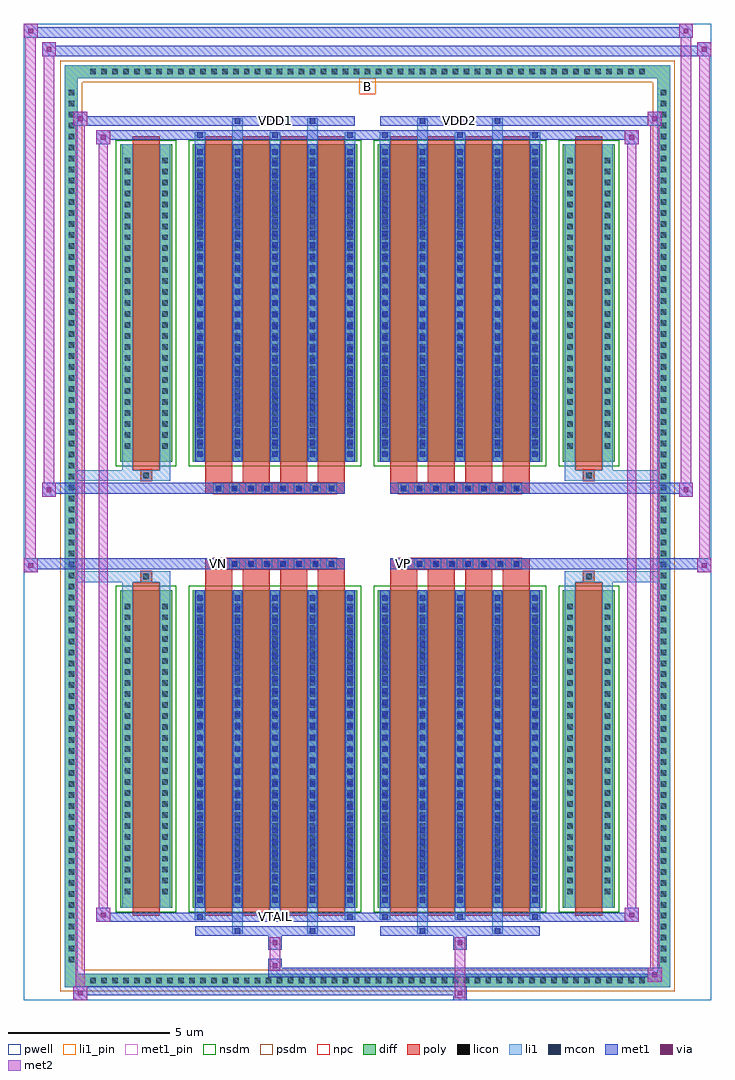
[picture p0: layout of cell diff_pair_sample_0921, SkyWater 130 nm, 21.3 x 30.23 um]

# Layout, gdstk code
import gdstk
lib = gdstk.Library(unit=1e-6, precision=5e-09)
def R(c, l, rs):  # rectangles x0, y0, x1, y1
    for r in rs: c.add(gdstk.rectangle(r[:2], r[2:], *l))
def A(c, l, x, y, w, h, nx, ny, dx, dy):  # array of equal rectangles
    R(c, l, [(x+i*dx, y+j*dy, x+i*dx+w, y+j*dy+h) for i in range(nx) for j in range(ny)])
def P(c, l, *ps):  # polygons
    for p in ps: c.add(gdstk.Polygon(p, *l))
pwell = (64, 44)
diff = (65, 20)
poly = (66, 20)
licon = (66, 44)
li1_pin = (67, 16)
li1 = (67, 20)
mcon = (67, 44)
met1_pin = (68, 16)
met1 = (68, 20)
via = (68, 44)
met2 = (69, 20)
nsdm = (93, 44)
psdm = (94, 20)
npc = (95, 20)

diff_pair_sample_0921 = lib.new_cell('diff_pair_sample_0921')
R(diff_pair_sample_0921, pwell, [(-10.65,-14.68,10.65,15.55), (-7.97,-12.87,-0.01,-0.805), (0.01,-12.87,7.97,-0.805), (-7.97,0.805,-0.01,12.87), (0.01,0.805,7.97,12.87)])
A(diff_pair_sample_0921, diff, -8.705, -14.28, 0.41, 0.41, 51, 2, 0.34, 28.15)
A(diff_pair_sample_0921, diff, -9.38, -13.635, 0.41, 0.41, 1, 80, 0, 0.34)
A(diff_pair_sample_0921, diff, 8.97, -13.635, 0.41, 0.41, 1, 80, 0, 0.34)
R(diff_pair_sample_0921, diff, [(-8.705,-14.28,8.705,-13.87), (-9.38,-13.635,-8.97,13.635), (8.97,-13.635,9.38,13.635), (-7.66,-11.825,-6.05,-1.985), (-5.41,-11.825,-0.32,-1.985), (0.32,-11.825,5.41,-1.985), (6.05,-11.825,7.66,-1.985), (-7.66,1.985,-6.05,11.825), (-5.41,1.985,-0.32,11.825), (0.32,1.985,5.41,11.825), (6.05,1.985,7.66,11.825), (-8.705,13.87,8.705,14.28)])
P(diff_pair_sample_0921, diff, [(9.38,14.28),(-9.38,14.28),(-9.38,-13.87),(-8.97,-13.87),(-8.97,13.87),(8.97,13.87),(8.97,-13.87),(-8.97,-13.87),(-9.38,-13.87),(-9.38,-14.28),(9.38,-14.28)])
A(diff_pair_sample_0921, poly, -5.02, -12.075, 0.83, 10.34, 4, 2, 1.16, 13.81)
A(diff_pair_sample_0921, poly, 0.71, -12.075, 0.83, 10.34, 4, 2, 1.16, 13.81)
A(diff_pair_sample_0921, poly, -5.02, -1.735, 0.83, 0.4, 4, 2, 1.16, 3.07)
A(diff_pair_sample_0921, poly, 0.71, -1.735, 0.83, 0.4, 4, 2, 1.16, 3.07)
A(diff_pair_sample_0921, poly, -4.78, -1.335, 0.33, 0.33, 8, 2, 0.5, 2.34)
A(diff_pair_sample_0921, poly, 0.95, -1.335, 0.33, 0.33, 8, 2, 0.5, 2.34)
R(diff_pair_sample_0921, poly, [(-7.27,-12.075,-6.44,-1.735), (6.44,-12.075,7.27,-1.735), (-7.02,-1.735,-6.69,-1.405), (-7.02,-1.735,-6.69,-1.405), (6.69,-1.735,7.02,-1.405), (6.69,-1.735,7.02,-1.405), (-5.02,-1.335,-0.71,-1.005), (0.71,-1.335,5.02,-1.005), (-5.02,1.005,-0.71,1.335), (0.71,1.005,5.02,1.335), (-7.02,1.405,-6.69,1.735), (-7.02,1.405,-6.69,1.735), (6.69,1.405,7.02,1.735), (6.69,1.405,7.02,1.735), (-7.27,1.735,-6.44,12.075), (6.44,1.735,7.27,12.075)])
A(diff_pair_sample_0921, licon, -8.585, -14.16, 0.17, 0.17, 51, 2, 0.34, 28.15)
A(diff_pair_sample_0921, licon, -9.26, -13.515, 0.17, 0.17, 1, 80, 0, 0.34)
A(diff_pair_sample_0921, licon, 9.09, -13.515, 0.17, 0.17, 1, 80, 0, 0.34)
A(diff_pair_sample_0921, licon, -7.52, -11.41, 0.17, 0.17, 1, 27, 0, 0.34)
A(diff_pair_sample_0921, licon, -6.36, -11.41, 0.17, 0.17, 1, 27, 0, 0.34)
A(diff_pair_sample_0921, licon, -5.27, -11.41, 0.17, 0.17, 5, 27, 1.16, 0.34)
A(diff_pair_sample_0921, licon, 0.46, -11.41, 0.17, 0.17, 5, 27, 1.16, 0.34)
A(diff_pair_sample_0921, licon, 6.19, -11.41, 0.17, 0.17, 1, 27, 0, 0.34)
A(diff_pair_sample_0921, licon, 7.35, -11.41, 0.17, 0.17, 1, 27, 0, 0.34)
A(diff_pair_sample_0921, licon, -4.7, -1.255, 0.17, 0.17, 8, 2, 0.5, 2.34)
A(diff_pair_sample_0921, licon, 1.03, -1.255, 0.17, 0.17, 8, 2, 0.5, 2.34)
A(diff_pair_sample_0921, licon, -7.52, 2.4, 0.17, 0.17, 1, 27, 0, 0.34)
A(diff_pair_sample_0921, licon, -6.36, 2.4, 0.17, 0.17, 1, 27, 0, 0.34)
A(diff_pair_sample_0921, licon, -5.27, 2.4, 0.17, 0.17, 5, 27, 1.16, 0.34)
A(diff_pair_sample_0921, licon, 0.46, 2.4, 0.17, 0.17, 5, 27, 1.16, 0.34)
A(diff_pair_sample_0921, licon, 6.19, 2.4, 0.17, 0.17, 1, 27, 0, 0.34)
A(diff_pair_sample_0921, licon, 7.35, 2.4, 0.17, 0.17, 1, 27, 0, 0.34)
R(diff_pair_sample_0921, licon, [(-6.94,-1.655,-6.77,-1.485), (6.77,-1.655,6.94,-1.485), (-6.94,1.485,-6.77,1.655), (6.77,1.485,6.94,1.655)])
R(diff_pair_sample_0921, li1_pin, [(-0.25,13.37,0.25,13.87)])
A(diff_pair_sample_0921, li1, -8.665, -14.24, 0.33, 0.33, 51, 2, 0.34, 28.15)
A(diff_pair_sample_0921, li1, -9.34, -13.595, 0.33, 0.33, 1, 80, 0, 0.34)
A(diff_pair_sample_0921, li1, 9.01, -13.595, 0.33, 0.33, 1, 80, 0, 0.34)
A(diff_pair_sample_0921, li1, -5.35, -12.2, 0.33, 0.375, 3, 2, 2.32, 24.025)
A(diff_pair_sample_0921, li1, -5.27, -12.2, 0.17, 0.17, 3, 2, 2.32, 24.23)
A(diff_pair_sample_0921, li1, 0.38, -12.2, 0.33, 0.375, 3, 2, 2.32, 24.025)
A(diff_pair_sample_0921, li1, 0.46, -12.2, 0.17, 0.17, 3, 2, 2.32, 24.23)
A(diff_pair_sample_0921, li1, -5.35, -11.825, 0.33, 9.84, 5, 2, 1.16, 13.81)
A(diff_pair_sample_0921, li1, 0.38, -11.825, 0.33, 9.84, 5, 2, 1.16, 13.81)
A(diff_pair_sample_0921, li1, -5.27, -11.67, 0.17, 0.17, 5, 27, 1.16, 0.36)
A(diff_pair_sample_0921, li1, -5.27, -11.67, 0.17, 9.53, 5, 2, 1.16, 13.81)
A(diff_pair_sample_0921, li1, 0.46, -11.67, 0.17, 0.17, 5, 27, 1.16, 0.36)
A(diff_pair_sample_0921, li1, 0.46, -11.67, 0.17, 9.53, 5, 2, 1.16, 13.81)
A(diff_pair_sample_0921, li1, -7.6, -11.49, 0.33, 0.33, 1, 27, 0, 0.34)
A(diff_pair_sample_0921, li1, -6.44, -11.49, 0.33, 0.33, 1, 27, 0, 0.34)
A(diff_pair_sample_0921, li1, -5.35, -11.49, 0.33, 0.33, 5, 27, 1.16, 0.34)
A(diff_pair_sample_0921, li1, 0.38, -11.49, 0.33, 0.33, 5, 27, 1.16, 0.34)
A(diff_pair_sample_0921, li1, 6.11, -11.49, 0.33, 0.33, 1, 27, 0, 0.34)
A(diff_pair_sample_0921, li1, 7.27, -11.49, 0.33, 0.33, 1, 27, 0, 0.34)
A(diff_pair_sample_0921, li1, -4.78, -1.335, 0.33, 0.33, 8, 2, 0.5, 2.34)
A(diff_pair_sample_0921, li1, 0.95, -1.335, 0.33, 0.33, 8, 2, 0.5, 2.34)
A(diff_pair_sample_0921, li1, -5.27, 2.14, 0.17, 0.17, 5, 27, 1.16, 0.36)
A(diff_pair_sample_0921, li1, 0.46, 2.14, 0.17, 0.17, 5, 27, 1.16, 0.36)
A(diff_pair_sample_0921, li1, -7.6, 2.32, 0.33, 0.33, 1, 27, 0, 0.34)
A(diff_pair_sample_0921, li1, -6.44, 2.32, 0.33, 0.33, 1, 27, 0, 0.34)
A(diff_pair_sample_0921, li1, -5.35, 2.32, 0.33, 0.33, 5, 27, 1.16, 0.34)
A(diff_pair_sample_0921, li1, 0.38, 2.32, 0.33, 0.33, 5, 27, 1.16, 0.34)
A(diff_pair_sample_0921, li1, 6.11, 2.32, 0.33, 0.33, 1, 27, 0, 0.34)
A(diff_pair_sample_0921, li1, 7.27, 2.32, 0.33, 0.33, 1, 27, 0, 0.34)
R(diff_pair_sample_0921, li1, [(-9.38,-14.28,-8.97,-13.87), (-9.38,-14.28,-8.97,-13.87), (-8.97,-14.28,8.97,-13.87), (8.97,-14.28,9.38,-13.87), (8.97,-14.28,9.38,-13.87), (-9.38,-13.87,-8.97,13.87), (8.97,-13.87,9.38,13.87), (-4.19,-12.63,-3.86,-11.825), (-4.11,-12.63,-3.94,-12.46), (-1.87,-12.63,-1.54,-11.825), (-1.79,-12.63,-1.62,-12.46), (1.54,-12.63,1.87,-11.825), (1.62,-12.63,1.79,-12.46), (3.86,-12.63,4.19,-11.825), (3.94,-12.63,4.11,-12.46), (-7.6,-11.825,-7.27,-1.985), (-6.44,-11.825,-6.11,-1.985), (6.11,-11.825,6.44,-1.985), (7.27,-11.825,7.6,-1.985), (-7.6,-1.985,-7.27,-1.405), (-6.44,-1.985,-6.11,-1.405), (6.11,-1.985,6.44,-1.405), (7.27,-1.985,7.6,-1.405), (-9.38,-1.735,-7.02,-1.405), (-7.6,-1.735,-7.02,-1.405), (-7.02,-1.735,-6.69,-1.405), (-6.69,-1.735,-6.11,-1.405), (6.11,-1.735,6.69,-1.405), (6.69,-1.735,7.02,-1.405), (6.69,-1.735,9.38,-1.405), (7.02,-1.735,7.6,-1.405), (-9.38,1.405,-7.02,1.735), (-7.6,1.405,-7.02,1.735), (-7.6,1.405,-7.27,1.985), (-7.02,1.405,-6.69,1.735), (-6.69,1.405,-6.11,1.735), (-6.44,1.405,-6.11,1.985), (6.11,1.405,6.69,1.735), (6.11,1.405,6.44,1.985), (6.69,1.405,7.02,1.735), (6.69,1.405,9.38,1.735), (7.02,1.405,7.6,1.735), (7.27,1.405,7.6,1.985), (-7.6,1.985,-7.27,11.825), (-6.44,1.985,-6.11,11.825), (6.11,1.985,6.44,11.825), (7.27,1.985,7.6,11.825), (-4.19,11.825,-3.86,12.63), (-1.87,11.825,-1.54,12.63), (1.54,11.825,1.87,12.63), (3.86,11.825,4.19,12.63), (-4.11,12.46,-3.94,12.63), (-1.79,12.46,-1.62,12.63), (1.62,12.46,1.79,12.63), (3.94,12.46,4.11,12.63), (-9.38,13.87,-8.97,14.28), (-9.38,13.87,-8.97,14.28), (-8.97,13.87,8.97,14.28), (8.97,13.87,9.38,14.28), (8.97,13.87,9.38,14.28)])
A(diff_pair_sample_0921, mcon, -5.27, -12.2, 0.17, 0.17, 3, 2, 2.32, 24.23)
A(diff_pair_sample_0921, mcon, 0.46, -12.2, 0.17, 0.17, 3, 2, 2.32, 24.23)
A(diff_pair_sample_0921, mcon, -5.27, -11.67, 0.17, 0.17, 5, 27, 1.16, 0.36)
A(diff_pair_sample_0921, mcon, 0.46, -11.67, 0.17, 0.17, 5, 27, 1.16, 0.36)
A(diff_pair_sample_0921, mcon, -4.7, -1.255, 0.17, 0.17, 8, 2, 0.5, 2.34)
A(diff_pair_sample_0921, mcon, 1.03, -1.255, 0.17, 0.17, 8, 2, 0.5, 2.34)
A(diff_pair_sample_0921, mcon, -5.27, 2.14, 0.17, 0.17, 5, 27, 1.16, 0.36)
A(diff_pair_sample_0921, mcon, 0.46, 2.14, 0.17, 0.17, 5, 27, 1.16, 0.36)
R(diff_pair_sample_0921, mcon, [(-4.11,-12.63,-3.94,-12.46), (-1.79,-12.63,-1.62,-12.46), (1.62,-12.63,1.79,-12.46), (3.94,-12.63,4.11,-12.46), (-4.11,12.46,-3.94,12.63), (-1.79,12.46,-1.62,12.63), (1.62,12.46,1.79,12.63), (3.94,12.46,4.11,12.63)])
R(diff_pair_sample_0921, met1_pin, [(-3,-12.24,-2.73,-11.97), (-4.75,-1.295,-4.48,-1.025), (0.98,-1.295,1.25,-1.025), (-3,12.42,-2.73,12.69), (2.73,12.42,3,12.69)])
A(diff_pair_sample_0921, met1, -5.33, -12.26, 0.29, 0.29, 3, 2, 2.32, 24.23)
A(diff_pair_sample_0921, met1, 0.4, -12.26, 0.29, 0.29, 3, 2, 2.32, 24.23)
A(diff_pair_sample_0921, met1, -5.33, -11.825, 0.29, 9.84, 5, 2, 1.16, 13.81)
A(diff_pair_sample_0921, met1, 0.4, -11.825, 0.29, 9.84, 5, 2, 1.16, 13.81)
A(diff_pair_sample_0921, met1, -5.33, -11.73, 0.29, 0.29, 5, 27, 1.16, 0.36)
A(diff_pair_sample_0921, met1, 0.4, -11.73, 0.29, 0.29, 5, 27, 1.16, 0.36)
A(diff_pair_sample_0921, met1, -4.76, -1.315, 0.29, 0.29, 8, 2, 0.5, 2.34)
A(diff_pair_sample_0921, met1, 0.97, -1.315, 0.29, 0.29, 8, 2, 0.5, 2.34)
A(diff_pair_sample_0921, met1, -5.33, 2.08, 0.29, 0.29, 5, 27, 1.16, 0.36)
A(diff_pair_sample_0921, met1, 0.4, 2.08, 0.29, 0.29, 5, 27, 1.16, 0.36)
R(diff_pair_sample_0921, met1, [(-9.11,-14.68,-8.68,-14.25), (2.65,-14.68,3.08,-14.25), (-9.11,-14.54,3.08,-14.25), (8.68,-14.11,9.11,-13.68), (-3.08,-13.97,9.11,-13.68), (-3.08,-13.83,-2.65,-13.4), (-3.08,-13.12,-2.65,-12.69), (2.65,-13.12,3.08,-12.69), (-5.33,-12.69,-0.4,-12.4), (-4.17,-12.69,-3.88,-12.4), (-1.85,-12.69,-1.56,-12.4), (0.4,-12.69,5.33,-12.4), (1.56,-12.69,1.85,-12.4), (3.88,-12.69,4.17,-12.4), (-8.4,-12.26,-7.97,-11.83), (-8.4,-12.26,-5.33,-11.97), (-5.33,-12.26,-0.4,-11.97), (-0.4,-12.26,0.4,-11.97), (0.4,-12.26,5.33,-11.97), (5.33,-12.26,8.4,-11.97), (7.97,-12.26,8.4,-11.83), (-10.65,-1.435,-10.22,-1.005), (10.22,-1.435,10.65,-1.005), (-10.65,-1.335,-0.71,-1.005), (-5.02,-1.335,-0.71,-1.005), (0.71,-1.335,5.02,-1.005), (0.71,-1.335,10.65,-1.005), (-10.08,0.905,-9.65,1.335), (9.65,0.905,10.08,1.335), (-10.08,1.005,-5.02,1.335), (-5.02,1.005,-0.71,1.335), (0.71,1.005,5.02,1.335), (5.02,1.005,10.08,1.335), (-8.4,11.83,-7.97,12.26), (7.97,11.83,8.4,12.26), (-8.4,11.97,-5.33,12.26), (-5.33,11.97,-0.4,12.26), (-0.4,11.97,0.4,12.26), (0.4,11.97,5.33,12.26), (5.33,11.97,8.4,12.26), (-9.11,12.4,-8.68,12.83), (-9.11,12.4,-5.33,12.69), (-5.33,12.4,-0.4,12.69), (-4.17,12.4,-3.88,12.69), (-1.85,12.4,-1.56,12.69), (0.4,12.4,5.33,12.69), (1.56,12.4,1.85,12.69), (3.88,12.4,4.17,12.69), (5.33,12.4,9.11,12.69), (8.68,12.4,9.11,12.83), (-10.08,14.55,-9.65,14.98), (-10.08,14.55,-7.97,14.88), (-7.97,14.55,7.97,14.88), (7.97,14.55,10.65,14.88), (10.22,14.55,10.65,14.98), (-10.65,15.12,-10.22,15.55), (-10.65,15.12,-7.97,15.45), (-7.97,15.12,7.97,15.45), (7.97,15.12,10.08,15.45), (9.65,15.12,10.08,15.55)])
R(diff_pair_sample_0921, via, [(-8.97,-14.54,-8.82,-14.39), (2.79,-14.54,2.94,-14.39), (8.82,-13.97,8.97,-13.82), (-2.94,-13.69,-2.79,-13.54), (-2.94,-12.98,-2.79,-12.83), (2.79,-12.98,2.94,-12.83), (-8.26,-12.12,-8.11,-11.97), (8.11,-12.12,8.26,-11.97), (-10.51,-1.295,-10.36,-1.145), (10.36,-1.295,10.51,-1.145), (-9.94,1.045,-9.79,1.195), (9.79,1.045,9.94,1.195), (-8.26,11.97,-8.11,12.12), (8.11,11.97,8.26,12.12), (-8.97,12.54,-8.82,12.69), (8.82,12.54,8.97,12.69), (-9.94,14.69,-9.79,14.84), (10.36,14.69,10.51,14.84), (-10.51,15.26,-10.36,15.41), (9.79,15.26,9.94,15.41)])
R(diff_pair_sample_0921, met2, [(-9.11,-14.68,-8.68,-14.25), (-9.04,-14.68,-8.75,12.83), (-8.75,-14.68,-8.68,-14.25), (-9.06,-14.63,-8.73,-14.3), (2.7,-14.63,3.03,-14.3), (2.7,-14.3,3.03,-13.07), (8.68,-14.11,9.11,-13.68), (8.75,-14.11,9.04,12.83), (9.04,-14.11,9.11,-13.68), (8.73,-14.06,9.06,-13.73), (-3.03,-13.78,-2.7,-13.45), (-3.03,-13.45,-2.7,-13.07), (-3.03,-13.07,-2.7,-12.74), (2.7,-13.07,3.03,-12.74), (-8.4,-12.26,-7.97,-11.83), (-8.33,-12.26,-8.04,12.26), (-8.04,-12.26,-7.97,-11.83), (7.97,-12.26,8.4,-11.83), (8.04,-12.26,8.33,12.26), (8.33,-12.26,8.4,-11.83), (-8.35,-12.21,-8.02,-11.88), (8.02,-12.21,8.35,-11.88), (-10.65,-1.435,-10.22,-1.005), (-10.6,-1.435,-10.27,15.55), (-10.27,-1.435,-10.22,-1.005), (10.22,-1.435,10.65,-1.005), (10.27,-1.435,10.6,14.98), (10.6,-1.435,10.65,-1.005), (-10.6,-1.385,-10.27,-1.055), (10.27,-1.385,10.6,-1.055), (-10.08,0.905,-9.65,1.335), (-10.03,0.905,-9.7,14.98), (-9.7,0.905,-9.65,1.335), (9.65,0.905,10.08,1.335), (9.7,0.905,10.03,15.55), (10.03,0.905,10.08,1.335), (-10.03,0.955,-9.7,1.285), (9.7,0.955,10.03,1.285), (-8.4,11.83,-7.97,12.26), (-8.04,11.83,-7.97,12.26), (7.97,11.83,8.4,12.26), (8.33,11.83,8.4,12.26), (-8.35,11.88,-8.02,12.21), (8.02,11.88,8.35,12.21), (-9.11,12.4,-8.68,12.83), (-8.75,12.4,-8.68,12.83), (8.68,12.4,9.11,12.83), (9.04,12.4,9.11,12.83), (-9.06,12.45,-8.73,12.78), (8.73,12.45,9.06,12.78), (-10.08,14.55,-9.65,14.98), (-9.7,14.55,-9.65,14.98), (10.22,14.55,10.65,14.98), (10.6,14.55,10.65,14.98), (-10.03,14.6,-9.7,14.93), (10.27,14.6,10.6,14.93), (-10.65,15.12,-10.22,15.55), (-10.27,15.12,-10.22,15.55), (9.65,15.12,10.08,15.55), (10.03,15.12,10.08,15.55), (-10.6,15.17,-10.27,15.5), (9.7,15.17,10.03,15.5)])
R(diff_pair_sample_0921, nsdm, [(-7.79,-11.955,-5.92,-1.855), (-5.54,-11.955,-0.19,-1.855), (0.19,-11.955,5.54,-1.855), (5.92,-11.955,7.79,-1.855), (-7.79,1.855,-5.92,11.955), (-5.54,1.855,-0.19,11.955), (0.19,1.855,5.54,11.955), (5.92,1.855,7.79,11.955)])
P(diff_pair_sample_0921, psdm, [(9.51,14.41),(-9.51,14.41),(-9.51,-13.74),(-8.84,-13.74),(-8.84,13.74),(8.84,13.74),(8.84,-13.74),(-8.84,-13.74),(-9.51,-13.74),(-9.51,-14.41),(9.51,-14.41)])
A(diff_pair_sample_0921, npc, -4.8, -1.355, 0.37, 0.37, 8, 2, 0.5, 2.34)
A(diff_pair_sample_0921, npc, 0.93, -1.355, 0.37, 0.37, 8, 2, 0.5, 2.34)
R(diff_pair_sample_0921, npc, [(-7.04,-1.755,-6.67,-1.385), (6.67,-1.755,7.04,-1.385), (-4.8,-1.355,-3.93,-0.985), (-4.8,-1.355,-3.93,-0.985), (-4.3,-1.355,-3.43,-0.985), (-4.3,-1.355,-3.43,-0.985), (-3.8,-1.355,-2.93,-0.985), (-3.8,-1.355,-2.93,-0.985), (-3.3,-1.355,-2.43,-0.985), (-3.3,-1.355,-2.43,-0.985), (-2.8,-1.355,-1.93,-0.985), (-2.8,-1.355,-1.93,-0.985), (-2.3,-1.355,-1.43,-0.985), (-2.3,-1.355,-1.43,-0.985), (-1.8,-1.355,-0.93,-0.985), (-1.8,-1.355,-0.93,-0.985), (0.93,-1.355,1.8,-0.985), (0.93,-1.355,1.8,-0.985), (1.43,-1.355,2.3,-0.985), (1.43,-1.355,2.3,-0.985), (1.93,-1.355,2.8,-0.985), (1.93,-1.355,2.8,-0.985), (2.43,-1.355,3.3,-0.985), (2.43,-1.355,3.3,-0.985), (2.93,-1.355,3.8,-0.985), (2.93,-1.355,3.8,-0.985), (3.43,-1.355,4.3,-0.985), (3.43,-1.355,4.3,-0.985), (3.93,-1.355,4.8,-0.985), (3.93,-1.355,4.8,-0.985), (-4.8,0.985,-3.93,1.355), (-4.8,0.985,-3.93,1.355), (-4.3,0.985,-3.43,1.355), (-4.3,0.985,-3.43,1.355), (-3.8,0.985,-2.93,1.355), (-3.8,0.985,-2.93,1.355), (-3.3,0.985,-2.43,1.355), (-3.3,0.985,-2.43,1.355), (-2.8,0.985,-1.93,1.355), (-2.8,0.985,-1.93,1.355), (-2.3,0.985,-1.43,1.355), (-2.3,0.985,-1.43,1.355), (-1.8,0.985,-0.93,1.355), (-1.8,0.985,-0.93,1.355), (0.93,0.985,1.8,1.355), (0.93,0.985,1.8,1.355), (1.43,0.985,2.3,1.355), (1.43,0.985,2.3,1.355), (1.93,0.985,2.8,1.355), (1.93,0.985,2.8,1.355), (2.43,0.985,3.3,1.355), (2.43,0.985,3.3,1.355), (2.93,0.985,3.8,1.355), (2.93,0.985,3.8,1.355), (3.43,0.985,4.3,1.355), (3.43,0.985,4.3,1.355), (3.93,0.985,4.8,1.355), (3.93,0.985,4.8,1.355), (-7.04,1.385,-6.67,1.755), (6.67,1.385,7.04,1.755)])
diff_pair_sample_0921.add(gdstk.Label('VTAIL', (-2.865,-12.105), layer=68, texttype=5))
diff_pair_sample_0921.add(gdstk.Label('VN', (-4.615,-1.16), layer=68, texttype=5))
diff_pair_sample_0921.add(gdstk.Label('VP', (1.115,-1.16), layer=68, texttype=5))
diff_pair_sample_0921.add(gdstk.Label('B', (0,13.62), layer=67, texttype=5))
diff_pair_sample_0921.add(gdstk.Label('VDD2', (2.865,12.555), layer=68, texttype=5))
diff_pair_sample_0921.add(gdstk.Label('VDD1', (-2.865,12.555), layer=68, texttype=5))

lib.write_gds('diff_pair_sample_0921.gds')
